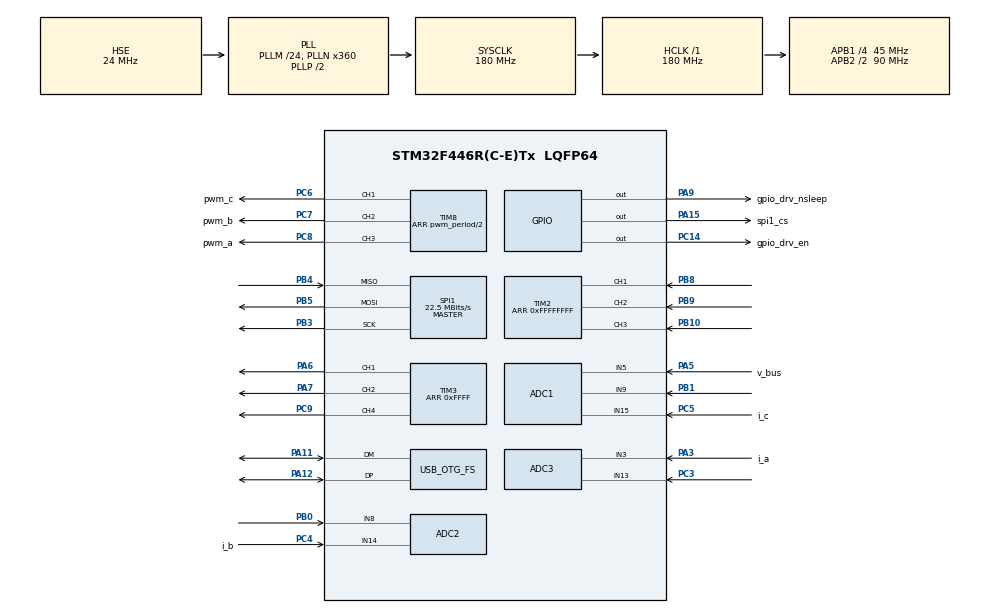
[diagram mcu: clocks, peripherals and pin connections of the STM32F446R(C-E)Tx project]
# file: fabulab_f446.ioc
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Mcu.Family=STM32F4
PH0-OSC_IN.Signal=RCC_OSC_IN
RCC.CortexFreq_Value=180000000
SPI1.VirtualType=VM_MASTER
ADC2.SamplingTime-1\#ChannelRegularConversion=ADC_SAMPLETIME_3CYCLES
ADC3.ExternalTrigInjecConv=ADC_EXTERNALTRIGINJECCONV_T8_CC4
PC6.GPIO_Label=pwm_c
PA11.Mode=Device_Only
TIM2.EncoderMode=TIM_ENCODERMODE_TI12
ADC3.Channel-0\#ChannelRegularConversion=ADC_CHANNEL_3
TIM3.Channel-PWM\ Generation4\ CH4=TIM_CHANNEL_4
RCC.SYSCLKSource=RCC_SYSCLKSOURCE_PLLCLK
ProjectManager.StackSize=0x4000
NVIC.ADC_IRQn=true\:0\:0\:false\:false\:true\:true\:true
PA15.GPIO_Label=spi1_cs
PA12.Signal=USB_OTG_FS_DP
SPI1.CLKPolarity=SPI_POLARITY_HIGH
Mcu.UserConstants=pwm_period,3600;main_period,18000
SPI1.Direction=SPI_DIRECTION_2LINES
RCC.HCLKFreq_Value=180000000
SH.ADCx_IN3.0=ADC3_IN3,IN3
TIM8.Channel-PWM\ Generation1\ CH1=TIM_CHANNEL_1
RCC.APB2TimFreq_Value=180000000
TIM3.Period=0xFFFF
TIM2.Channel-Input_Capture3_from_TI3=TIM_CHANNEL_3
PC7.Signal=S_TIM8_CH2
ADC1.InjNumberOfConversion=1
SPI1.CalculateBaudRate=22.5 MBits/s
PC3.Signal=ADCx_IN13
RCC.AHBFreq_Value=180000000
PH0-OSC_IN.Mode=HSE-External-Oscillator
TIM3.Channel-PWM\ Generation1\ CH1=TIM_CHANNEL_1
ADC1.Channel-0\#ChannelRegularConversion=ADC_CHANNEL_5
ADC1.ExternalTrigInjecConv=ADC_EXTERNALTRIGINJECCONV_T8_CC4
RCC.HSE_VALUE=24000000
PB3.Mode=Full_Duplex_Master
ADC3.InjNumberOfConversion=1
VP_TIM8_VS_no_output4.Mode=PWM Generation4 No Output
ADC2.InjectedRank-2\#ChannelInjectedConversion=1
SH.ADCx_IN15.0=ADC1_IN15,IN15
PB4.Mode=Full_Duplex_Master
PC4.GPIO_Label=i_b
PB5.Mode=Full_Duplex_Master
SPI1.DataSize=SPI_DATASIZE_16BIT
SH.ADCx_IN8.0=ADC2_IN8,IN8
TIM8.Pulse-PWM\ Generation4\ No\ Output=pwm_period/2-10
SH.S_TIM3_CH1.0=TIM3_CH1,PWM Generation1 CH1
VP_TIM1_VS_ClockSourceINT.Mode=Internal
ADC1.SamplingTime-0\#ChannelRegularConversion=ADC_SAMPLETIME_28CYCLES
PH1-OSC_OUT.Mode=HSE-External-Oscillator
Mcu.Package=LQFP64
PB9.Signal=S_TIM2_CH2
ADC2.InjectedOffset-2\#ChannelInjectedConversion=0
PA6.Signal=S_TIM3_CH1
PB1.Signal=ADCx_IN9
TIM8.Channel-PWM\ Generation3\ CH3=TIM_CHANNEL_3
PC14-OSC32_IN.PinState=GPIO_PIN_SET
SH.ADCx_IN14.0=ADC2_IN14,IN14
ADC1.SamplingTime-1\#ChannelInjectedConversion=ADC_SAMPLETIME_15CYCLES
NVIC.OTG_FS_IRQn=true\:0\:0\:false\:false\:true\:true\:true
ADC2.Channel-1\#ChannelRegularConversion=ADC_CHANNEL_8
ADC3.Rank-0\#ChannelRegularConversion=1
TIM8.Channel-PWM\ Generation2\ CH2=TIM_CHANNEL_2
USB_OTG_FS.VirtualMode=Device_Only
PA15.Signal=GPIO_Output
PC8.GPIO_Speed=GPIO_SPEED_FREQ_VERY_HIGH
SH.ADCx_IN9.0=ADC1_IN9,IN9
RCC.PLLSAIM=24
RCC.PLLSAIP=RCC_PLLSAIP_DIV4
RCC.APB2CLKDivider=RCC_HCLK_DIV2
ADC2.NbrOfConversion=1
RCC.APB1TimFreq_Value=90000000
PC14-OSC32_IN.GPIO_Label=gpio_drv_en
PC5.Signal=ADCx_IN15
TIM1.Period=main_period-1
TIM8.OCMode_PWM-PWM\ Generation4\ No\ Output=TIM_OCMODE_PWM2
SPI1.BaudRatePrescaler=SPI_BAUDRATEPRESCALER_4
ADC3.InjectedRank-1\#ChannelInjectedConversion=1
PC6.GPIO_Speed=GPIO_SPEED_FREQ_VERY_HIGH
VP_TIM3_VS_ClockSourceINT.Mode=Internal
PB4.Signal=SPI1_MISO
ADC3.InjectedOffset-1\#ChannelInjectedConversion=0
PA3.Signal=ADCx_IN3
SH.S_TIM8_CH3.0=TIM8_CH3,PWM Generation3 CH3
RCC.PLLSourceVirtual=RCC_PLLSOURCE_HSE
SH.ADCx_IN13.0=ADC3_IN13,IN13
ADC2.ExternalTrigInjecConv=ADC_EXTERNALTRIGINJECCONV_T8_CC4
ADC1.Rank-0\#ChannelRegularConversion=1
ADC3.Channel-1\#ChannelInjectedConversion=ADC_CHANNEL_13
TIM2.IC1Filter=2
PA9.GPIO_Label=gpio_drv_nsleep
PC8.Signal=S_TIM8_CH3
PC4.Signal=ADCx_IN14
PC6.Signal=S_TIM8_CH1
SPI1.CLKPhase=SPI_PHASE_2EDGE
RCC.APB1CLKDivider=RCC_HCLK_DIV4
PC14-OSC32_IN.Signal=GPIO_Output
SH.S_TIM8_CH2.0=TIM8_CH2,PWM Generation2 CH2
PC8.GPIO_Label=pwm_a
SH.S_TIM2_CH2.0=TIM2_CH2,Encoder_Interface
ADC3.SamplingTime-0\#ChannelRegularConversion=ADC_SAMPLETIME_15CYCLES
ProjectManager.TargetToolchain=Makefile
TIM8.Channel-PWM\ Generation4\ No\ Output=TIM_CHANNEL_4
PA6.Stacked=true
PA9.Signal=GPIO_Output
TIM2.ICFilter_CH3=4
PA9.PinState=GPIO_PIN_SET
VP_TIM8_VS_ClockSourceINT.Mode=Internal
ADC1.Channel-1\#ChannelInjectedConversion=ADC_CHANNEL_9
ADC2.SamplingTime-2\#ChannelInjectedConversion=ADC_SAMPLETIME_15CYCLES
RCC.USBFreq_Value=48000000
PB10.Signal=S_TIM2_CH3
RCC.USBCLockSelection=RCC_CLK48CLKSOURCE_PLLSAIP
PA5.Signal=ADCx_IN5
SH.S_TIM3_CH2.0=TIM3_CH2,PWM Generation2 CH2
SH.S_TIM8_CH1.0=TIM8_CH1,PWM Generation1 CH1
board=custom
PC7.GPIO_Speed=GPIO_SPEED_FREQ_VERY_HIGH
RCC.VCOOutputFreq_Value=360000000
PA15.PinState=GPIO_PIN_SET
RCC.APB2Freq_Value=90000000
SH.S_TIM2_CH3.0=TIM2_CH3,Input_Capture3_from_TI3
ADC1.InjectedOffset-1\#ChannelInjectedConversion=0
SPI1.Mode=SPI_MODE_MASTER
PH1-OSC_OUT.Signal=RCC_OSC_OUT
ADC2.Channel-2\#ChannelInjectedConversion=ADC_CHANNEL_8
TIM2.Period=0xFFFFFFFF
ADC1.NbrOfConversion=1
Mcu.Name=STM32F446R(C-E)Tx
TIM8.OCPolarity_2=TIM_OCPOLARITY_HIGH
ADC1.ExternalTrigConv=ADC_EXTERNALTRIGCONV_T8_TRGO
TIM8.Period=pwm_period/2
TIM8.OCPolarity_1=TIM_OCPOLARITY_HIGH
PC7.GPIO_Label=pwm_b
TIM8.OCPolarity_3=TIM_OCPOLARITY_HIGH
PB3.Signal=SPI1_SCK
RCC.SYSCLKFreq_VALUE=180000000
PB5.Signal=SPI1_MOSI
ADC1.master=1
PA12.Mode=Device_Only
PA5.GPIO_Label=v_bus
ADC2.NbrOfConversionFlag=1
TIM8.TIM_MasterOutputTrigger=TIM_TRGO_OC4REF
PC5.GPIO_Label=i_c
PA15.GPIO_Speed=GPIO_SPEED_FREQ_VERY_HIGH
PA11.Signal=USB_OTG_FS_DM
SH.S_TIM2_CH1_ETR.0=TIM2_CH1,Encoder_Interface
ProjectManager.HeapSize=0x4000
NVIC.TIM1_UP_TIM10_IRQn=true\:0\:0\:false\:false\:true\:true\:true
SH.ADCx_IN5.0=ADC1_IN5,IN5
NVIC.PriorityGroup=NVIC_PRIORITYGROUP_4
ADC1.NbrOfConversionFlag=1
TIM3.Channel-PWM\ Generation2\ CH2=TIM_CHANNEL_2
RCC.PLLM=24
RCC.PLLN=360
ADC2.Rank-1\#ChannelRegularConversion=1
PA9.GPIO_Speed=GPIO_SPEED_FREQ_VERY_HIGH
PB8.Signal=S_TIM2_CH1_ETR
ADC1.InjectedRank-1\#ChannelInjectedConversion=1
PC9.Signal=S_TIM3_CH4
RCC.APB1Freq_Value=45000000
ADC3.NbrOfConversionFlag=1
PB0.Signal=ADCx_IN8
ADC2.InjNumberOfConversion=1
TIM2.IC2Filter=2
TIM8.CounterMode=TIM_COUNTERMODE_CENTERALIGNED1
PA3.GPIO_Label=i_a
SH.S_TIM3_CH4.0=TIM3_CH4,PWM Generation4 CH4
PA7.Signal=S_TIM3_CH2
ADC3.SamplingTime-1\#ChannelInjectedConversion=ADC_SAMPLETIME_15CYCLES

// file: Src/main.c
/* USER CODE BEGIN Header */
/**
  ******************************************************************************
  * @file           : main.c
  * @brief          : Main program body
  ******************************************************************************
  * @attention
  *
  * <h2><center>&copy; Copyright (c) 2020 STMicroelectronics.
  * All rights reserved.</center></h2>
  *
  * This software component is licensed by ST under BSD 3-Clause license,
  * the "License"; You may not use this file except in compliance with the
  * License. You may obtain a copy of the License at:
  *                        opensource.org/licenses/BSD-3-Clause
  *
  ******************************************************************************
  */
/* USER CODE END Header */

#include "main.h"

/* USER CODE BEGIN Includes */
#include "../../motorlib/system.h"
/* USER CODE END Includes */

ADC_HandleTypeDef hadc1;
ADC_HandleTypeDef hadc2;
ADC_HandleTypeDef hadc3;

SPI_HandleTypeDef hspi1;

TIM_HandleTypeDef htim1;
TIM_HandleTypeDef htim2;
TIM_HandleTypeDef htim3;
TIM_HandleTypeDef htim8;

PCD_HandleTypeDef hpcd_USB_OTG_FS;

void SystemClock_Config(void);
static void MX_GPIO_Init(void);
static void MX_ADC1_Init(void);
static void MX_ADC2_Init(void);
static void MX_ADC3_Init(void);
static void MX_TIM1_Init(void);
static void MX_TIM8_Init(void);
static void MX_USB_OTG_FS_PCD_Init(void);
static void MX_SPI1_Init(void);
static void MX_TIM2_Init(void);
static void MX_TIM3_Init(void);

int main(void)
{
  /* USER CODE BEGIN 1 */
  // DWC CYCCNT used as main counter
  CoreDebug->DEMCR |= CoreDebug_DEMCR_TRCENA_Msk;
  DWT->CYCCNT = 0;
  DWT->CTRL |= DWT_CTRL_CYCCNTENA_Msk;
  /* USER CODE END 1 */

  /* MCU Configuration--------------------------------------------------------*/

  /* Reset of all peripherals, Initializes the Flash interface and the Systick. */
  HAL_Init();

  /* Configure the system clock */
  SystemClock_Config();

  /* USER CODE BEGIN SysInit */
  DWT->CTRL = 0x400003FF | (1ul<<17) | DWT_CTRL_LSUEVTENA_Msk | DWT_CTRL_FOLDEVTENA_Msk;
  /* USER CODE END SysInit */

  /* Initialize all configured peripherals */
  MX_GPIO_Init();
  MX_ADC1_Init();
  MX_ADC2_Init();
  MX_ADC3_Init();
  MX_TIM1_Init();
  MX_TIM8_Init();
  MX_USB_OTG_FS_PCD_Init();
  MX_SPI1_Init();
  MX_TIM2_Init();
  MX_TIM3_Init();
  /* USER CODE BEGIN 2 */
  SPI1->CR1 |= SPI_CR1_SPE; // enable spi
  system_init();

  HAL_PCDEx_SetRxFiFo(&hpcd_USB_OTG_FS, 0x40);
  HAL_PCDEx_SetTxFiFo(&hpcd_USB_OTG_FS, 0, 0x20);
  HAL_PCDEx_SetTxFiFo(&hpcd_USB_OTG_FS, 1, 0x20);
  HAL_PCDEx_SetTxFiFo(&hpcd_USB_OTG_FS, 2, 0x20);
  HAL_PCDEx_SetTxFiFo(&hpcd_USB_OTG_FS, 3, 0x20);
  USB_EnableGlobalInt(hpcd_USB_OTG_FS.Instance);

  // interrupt priorities
  HAL_NVIC_SetPriority(SysTick_IRQn, 3, 0);
  HAL_NVIC_SetPriority(OTG_FS_IRQn, 2, 0);
  HAL_NVIC_SetPriority(TIM1_UP_TIM10_IRQn, 1, 0);

  HAL_ADC_Start(&hadc1);
  HAL_ADC_Start(&hadc2);
  HAL_ADC_Start(&hadc3);
  hadc1.Instance->CR1 |= ADC_CR1_JEOCIE;

  HAL_TIM_PWM_Start(&htim8, TIM_CHANNEL_1);
  HAL_TIM_PWM_Start(&htim8, TIM_CHANNEL_2);
  HAL_TIM_PWM_Start(&htim8, TIM_CHANNEL_3);
  HAL_TIM_PWM_Start(&htim8, TIM_CHANNEL_4);

	HAL_TIM_OC_Start(&htim2, TIM_CHANNEL_3);

  HAL_TIM_OC_Start(&htim3, TIM_CHANNEL_1);
  HAL_TIM_OC_Start(&htim3, TIM_CHANNEL_2);
  HAL_TIM_OC_Start(&htim3, TIM_CHANNEL_4);

  // start
  HAL_TIM_Base_Start(&htim8);
  HAL_TIM_Base_Start(&htim1);
  HAL_TIM_Base_Start(&htim2);
  HAL_TIM_Base_Start(&htim3);
  htim1.Instance->DIER |= TIM_DIER_UIE;
  htim2.Instance->ARR = 0xFFFFFFFF;
  USB_DevConnect(USB_OTG_FS);

  system_run();
  /* USER CODE END 2 */

  /* Infinite loop */
  while (1)
  {

  }
}

void SystemClock_Config(void)
{
  RCC_OscInitTypeDef RCC_OscInitStruct = {0};
  RCC_ClkInitTypeDef RCC_ClkInitStruct = {0};
  RCC_PeriphCLKInitTypeDef PeriphClkInitStruct = {0};

  /** Configure the main internal regulator output voltage
  */
  __HAL_RCC_PWR_CLK_ENABLE();
  __HAL_PWR_VOLTAGESCALING_CONFIG(PWR_REGULATOR_VOLTAGE_SCALE1);
  /** Initializes the CPU, AHB and APB busses clocks
  */
  RCC_OscInitStruct.OscillatorType = RCC_OSCILLATORTYPE_HSE;
  RCC_OscInitStruct.HSEState = RCC_HSE_ON;
  RCC_OscInitStruct.PLL.PLLState = RCC_PLL_ON;
  RCC_OscInitStruct.PLL.PLLSource = RCC_PLLSOURCE_HSE;
  RCC_OscInitStruct.PLL.PLLM = 24;
  RCC_OscInitStruct.PLL.PLLN = 360;
  RCC_OscInitStruct.PLL.PLLP = RCC_PLLP_DIV2;
  RCC_OscInitStruct.PLL.PLLQ = 2;
  RCC_OscInitStruct.PLL.PLLR = 2;
  if (HAL_RCC_OscConfig(&RCC_OscInitStruct) != HAL_OK)
  {
    Error_Handler();
  }
  /** Activate the Over-Drive mode
  */
  if (HAL_PWREx_EnableOverDrive() != HAL_OK)
  {
    Error_Handler();
  }
  /** Initializes the CPU, AHB and APB busses clocks
  */
  RCC_ClkInitStruct.ClockType = RCC_CLOCKTYPE_HCLK|RCC_CLOCKTYPE_SYSCLK
                              |RCC_CLOCKTYPE_PCLK1|RCC_CLOCKTYPE_PCLK2;
  RCC_ClkInitStruct.SYSCLKSource = RCC_SYSCLKSOURCE_PLLCLK;
  RCC_ClkInitStruct.AHBCLKDivider = RCC_SYSCLK_DIV1;
  RCC_ClkInitStruct.APB1CLKDivider = RCC_HCLK_DIV4;
  RCC_ClkInitStruct.APB2CLKDivider = RCC_HCLK_DIV2;

  if (HAL_RCC_ClockConfig(&RCC_ClkInitStruct, FLASH_LATENCY_5) != HAL_OK)
  {
    Error_Handler();
  }
  PeriphClkInitStruct.PeriphClockSelection = RCC_PERIPHCLK_CLK48;
  PeriphClkInitStruct.PLLSAI.PLLSAIM = 24;
  PeriphClkInitStruct.PLLSAI.PLLSAIN = 192;
  PeriphClkInitStruct.PLLSAI.PLLSAIQ = 2;
  PeriphClkInitStruct.PLLSAI.PLLSAIP = RCC_PLLSAIP_DIV4;
  PeriphClkInitStruct.PLLSAIDivQ = 1;
  PeriphClkInitStruct.Clk48ClockSelection = RCC_CLK48CLKSOURCE_PLLSAIP;
  if (HAL_RCCEx_PeriphCLKConfig(&PeriphClkInitStruct) != HAL_OK)
  {
    Error_Handler();
  }
}

static void MX_ADC1_Init(void)
{

  ADC_ChannelConfTypeDef sConfig = {0};
  ADC_InjectionConfTypeDef sConfigInjected = {0};

  /** Configure the global features of the ADC (Clock, Resolution, Data Alignment and number of conversion)
  */
  hadc1.Instance = ADC1;
  hadc1.Init.ClockPrescaler = ADC_CLOCK_SYNC_PCLK_DIV4;
  hadc1.Init.Resolution = ADC_RESOLUTION_12B;
  hadc1.Init.ScanConvMode = DISABLE;
  hadc1.Init.ContinuousConvMode = DISABLE;
  hadc1.Init.DiscontinuousConvMode = DISABLE;
  hadc1.Init.ExternalTrigConvEdge = ADC_EXTERNALTRIGCONVEDGE_RISING;
  hadc1.Init.ExternalTrigConv = ADC_EXTERNALTRIGCONV_T8_TRGO;
  hadc1.Init.DataAlign = ADC_DATAALIGN_RIGHT;
  hadc1.Init.NbrOfConversion = 1;
  hadc1.Init.DMAContinuousRequests = DISABLE;
  hadc1.Init.EOCSelection = ADC_EOC_SINGLE_CONV;
  if (HAL_ADC_Init(&hadc1) != HAL_OK)
  {
    Error_Handler();
  }
  /** Configure for the selected ADC regular channel its corresponding rank in the sequencer and its sample time.
  */
  sConfig.Channel = ADC_CHANNEL_5;
  sConfig.Rank = 1;
  sConfig.SamplingTime = ADC_SAMPLETIME_28CYCLES;
  if (HAL_ADC_ConfigChannel(&hadc1, &sConfig) != HAL_OK)
  {
    Error_Handler();
  }
  /** Configures for the selected ADC injected channel its corresponding rank in the sequencer and its sample time
  */
  sConfigInjected.InjectedChannel = ADC_CHANNEL_9;
  sConfigInjected.InjectedRank = 1;
  sConfigInjected.InjectedNbrOfConversion = 1;
  sConfigInjected.InjectedSamplingTime = ADC_SAMPLETIME_15CYCLES;
  sConfigInjected.ExternalTrigInjecConvEdge = ADC_EXTERNALTRIGINJECCONVEDGE_RISING;
  sConfigInjected.ExternalTrigInjecConv = ADC_EXTERNALTRIGINJECCONV_T8_CC4;
  sConfigInjected.AutoInjectedConv = DISABLE;
  sConfigInjected.InjectedDiscontinuousConvMode = DISABLE;
  sConfigInjected.InjectedOffset = 0;
  if (HAL_ADCEx_InjectedConfigChannel(&hadc1, &sConfigInjected) != HAL_OK)
  {
    Error_Handler();
  }

}

static void MX_ADC2_Init(void)
{

  ADC_ChannelConfTypeDef sConfig = {0};
  ADC_InjectionConfTypeDef sConfigInjected = {0};

  /** Configure the global features of the ADC (Clock, Resolution, Data Alignment and number of conversion)
  */
  hadc2.Instance = ADC2;
  hadc2.Init.ClockPrescaler = ADC_CLOCK_SYNC_PCLK_DIV4;
  hadc2.Init.Resolution = ADC_RESOLUTION_12B;
  hadc2.Init.ScanConvMode = DISABLE;
  hadc2.Init.ContinuousConvMode = DISABLE;
  hadc2.Init.DiscontinuousConvMode = DISABLE;
  hadc2.Init.ExternalTrigConvEdge = ADC_EXTERNALTRIGCONVEDGE_NONE;
  hadc2.Init.ExternalTrigConv = ADC_SOFTWARE_START;
  hadc2.Init.DataAlign = ADC_DATAALIGN_RIGHT;
  hadc2.Init.NbrOfConversion = 1;
  hadc2.Init.DMAContinuousRequests = DISABLE;
  hadc2.Init.EOCSelection = ADC_EOC_SINGLE_CONV;
  if (HAL_ADC_Init(&hadc2) != HAL_OK)
  {
    Error_Handler();
  }
  /** Configure for the selected ADC regular channel its corresponding rank in the sequencer and its sample time.
  */
  sConfig.Channel = ADC_CHANNEL_8;
  sConfig.Rank = 1;
  sConfig.SamplingTime = ADC_SAMPLETIME_3CYCLES;
  if (HAL_ADC_ConfigChannel(&hadc2, &sConfig) != HAL_OK)
  {
    Error_Handler();
  }
  /** Configures for the selected ADC injected channel its corresponding rank in the sequencer and its sample time
  */
  sConfigInjected.InjectedChannel = ADC_CHANNEL_8;
  sConfigInjected.InjectedRank = 1;
  sConfigInjected.InjectedNbrOfConversion = 1;
  sConfigInjected.InjectedSamplingTime = ADC_SAMPLETIME_15CYCLES;
  sConfigInjected.ExternalTrigInjecConvEdge = ADC_EXTERNALTRIGINJECCONVEDGE_RISING;
  sConfigInjected.ExternalTrigInjecConv = ADC_EXTERNALTRIGINJECCONV_T8_CC4;
  sConfigInjected.AutoInjectedConv = DISABLE;
  sConfigInjected.InjectedDiscontinuousConvMode = DISABLE;
  sConfigInjected.InjectedOffset = 0;
  if (HAL_ADCEx_InjectedConfigChannel(&hadc2, &sConfigInjected) != HAL_OK)
  {
    Error_Handler();
  }

}

static void MX_ADC3_Init(void)
{

  ADC_ChannelConfTypeDef sConfig = {0};
  ADC_InjectionConfTypeDef sConfigInjected = {0};

  /** Configure the global features of the ADC (Clock, Resolution, Data Alignment and number of conversion)
  */
  hadc3.Instance = ADC3;
  hadc3.Init.ClockPrescaler = ADC_CLOCK_SYNC_PCLK_DIV4;
  hadc3.Init.Resolution = ADC_RESOLUTION_12B;
  hadc3.Init.ScanConvMode = DISABLE;
  hadc3.Init.ContinuousConvMode = DISABLE;
  hadc3.Init.DiscontinuousConvMode = DISABLE;
  hadc3.Init.ExternalTrigConvEdge = ADC_EXTERNALTRIGCONVEDGE_NONE;
  hadc3.Init.ExternalTrigConv = ADC_SOFTWARE_START;
  hadc3.Init.DataAlign = ADC_DATAALIGN_RIGHT;
  hadc3.Init.NbrOfConversion = 1;
  hadc3.Init.DMAContinuousRequests = DISABLE;
  hadc3.Init.EOCSelection = ADC_EOC_SINGLE_CONV;
  if (HAL_ADC_Init(&hadc3) != HAL_OK)
  {
    Error_Handler();
  }
  /** Configure for the selected ADC regular channel its corresponding rank in the sequencer and its sample time.
  */
  sConfig.Channel = ADC_CHANNEL_3;
  sConfig.Rank = 1;
  sConfig.SamplingTime = ADC_SAMPLETIME_15CYCLES;
  if (HAL_ADC_ConfigChannel(&hadc3, &sConfig) != HAL_OK)
  {
    Error_Handler();
  }
  /** Configures for the selected ADC injected channel its corresponding rank in the sequencer and its sample time
  */
  sConfigInjected.InjectedChannel = ADC_CHANNEL_13;
  sConfigInjected.InjectedRank = 1;
  sConfigInjected.InjectedNbrOfConversion = 1;
  sConfigInjected.InjectedSamplingTime = ADC_SAMPLETIME_15CYCLES;
  sConfigInjected.ExternalTrigInjecConvEdge = ADC_EXTERNALTRIGINJECCONVEDGE_RISING;
  sConfigInjected.ExternalTrigInjecConv = ADC_EXTERNALTRIGINJECCONV_T8_CC4;
  sConfigInjected.AutoInjectedConv = DISABLE;
  sConfigInjected.InjectedDiscontinuousConvMode = DISABLE;
  sConfigInjected.InjectedOffset = 0;
  if (HAL_ADCEx_InjectedConfigChannel(&hadc3, &sConfigInjected) != HAL_OK)
  {
    Error_Handler();
  }

}

static void MX_SPI1_Init(void)
{

  /* SPI1 parameter configuration*/
  hspi1.Instance = SPI1;
  hspi1.Init.Mode = SPI_MODE_MASTER;
  hspi1.Init.Direction = SPI_DIRECTION_2LINES;
  hspi1.Init.DataSize = SPI_DATASIZE_16BIT;
  hspi1.Init.CLKPolarity = SPI_POLARITY_HIGH;
  hspi1.Init.CLKPhase = SPI_PHASE_2EDGE;
  hspi1.Init.NSS = SPI_NSS_SOFT;
  hspi1.Init.BaudRatePrescaler = SPI_BAUDRATEPRESCALER_4;
  hspi1.Init.FirstBit = SPI_FIRSTBIT_MSB;
  hspi1.Init.TIMode = SPI_TIMODE_DISABLE;
  hspi1.Init.CRCCalculation = SPI_CRCCALCULATION_DISABLE;
  hspi1.Init.CRCPolynomial = 10;
  if (HAL_SPI_Init(&hspi1) != HAL_OK)
  {
    Error_Handler();
  }

}

static void MX_TIM1_Init(void)
{

  TIM_ClockConfigTypeDef sClockSourceConfig = {0};
  TIM_MasterConfigTypeDef sMasterConfig = {0};

  htim1.Instance = TIM1;
  htim1.Init.Prescaler = 0;
  htim1.Init.CounterMode = TIM_COUNTERMODE_UP;
  htim1.Init.Period = main_period-1;
  htim1.Init.ClockDivision = TIM_CLOCKDIVISION_DIV1;
  htim1.Init.RepetitionCounter = 0;
  htim1.Init.AutoReloadPreload = TIM_AUTORELOAD_PRELOAD_DISABLE;
  if (HAL_TIM_Base_Init(&htim1) != HAL_OK)
  {
    Error_Handler();
  }
  sClockSourceConfig.ClockSource = TIM_CLOCKSOURCE_INTERNAL;
  if (HAL_TIM_ConfigClockSource(&htim1, &sClockSourceConfig) != HAL_OK)
  {
    Error_Handler();
  }
  sMasterConfig.MasterOutputTrigger = TIM_TRGO_RESET;
  sMasterConfig.MasterSlaveMode = TIM_MASTERSLAVEMODE_DISABLE;
  if (HAL_TIMEx_MasterConfigSynchronization(&htim1, &sMasterConfig) != HAL_OK)
  {
    Error_Handler();
  }

}

static void MX_TIM2_Init(void)
{

  TIM_Encoder_InitTypeDef sConfig = {0};
  TIM_MasterConfigTypeDef sMasterConfig = {0};
  TIM_IC_InitTypeDef sConfigIC = {0};

  htim2.Instance = TIM2;
  htim2.Init.Prescaler = 0;
  htim2.Init.CounterMode = TIM_COUNTERMODE_UP;
  htim2.Init.Period = 0xFFFFFFFF;
  htim2.Init.ClockDivision = TIM_CLOCKDIVISION_DIV1;
  htim2.Init.AutoReloadPreload = TIM_AUTORELOAD_PRELOAD_DISABLE;
  if (HAL_TIM_IC_Init(&htim2) != HAL_OK)
  {
    Error_Handler();
  }
  sConfig.EncoderMode = TIM_ENCODERMODE_TI12;
  sConfig.IC1Polarity = TIM_ICPOLARITY_RISING;
  sConfig.IC1Selection = TIM_ICSELECTION_DIRECTTI;
  sConfig.IC1Prescaler = TIM_ICPSC_DIV1;
  sConfig.IC1Filter = 2;
  sConfig.IC2Polarity = TIM_ICPOLARITY_RISING;
  sConfig.IC2Selection = TIM_ICSELECTION_DIRECTTI;
  sConfig.IC2Prescaler = TIM_ICPSC_DIV1;
  sConfig.IC2Filter = 2;
  if (HAL_TIM_Encoder_Init(&htim2, &sConfig) != HAL_OK)
  {
    Error_Handler();
  }
  sMasterConfig.MasterOutputTrigger = TIM_TRGO_RESET;
  sMasterConfig.MasterSlaveMode = TIM_MASTERSLAVEMODE_DISABLE;
  if (HAL_TIMEx_MasterConfigSynchronization(&htim2, &sMasterConfig) != HAL_OK)
  {
    Error_Handler();
  }
  sConfigIC.ICPolarity = TIM_INPUTCHANNELPOLARITY_RISING;
  sConfigIC.ICSelection = TIM_ICSELECTION_DIRECTTI;
  sConfigIC.ICPrescaler = TIM_ICPSC_DIV1;
  sConfigIC.ICFilter = 4;
  if (HAL_TIM_IC_ConfigChannel(&htim2, &sConfigIC, TIM_CHANNEL_3) != HAL_OK)
  {
    Error_Handler();
  }

}

static void MX_TIM3_Init(void)
{

  TIM_ClockConfigTypeDef sClockSourceConfig = {0};
  TIM_MasterConfigTypeDef sMasterConfig = {0};
  TIM_OC_InitTypeDef sConfigOC = {0};

  htim3.Instance = TIM3;
  htim3.Init.Prescaler = 0;
  htim3.Init.CounterMode = TIM_COUNTERMODE_UP;
  htim3.Init.Period = 0xFFFF;
  htim3.Init.ClockDivision = TIM_CLOCKDIVISION_DIV1;
  htim3.Init.AutoReloadPreload = TIM_AUTORELOAD_PRELOAD_DISABLE;
  if (HAL_TIM_Base_Init(&htim3) != HAL_OK)
  {
    Error_Handler();
  }
  sClockSourceConfig.ClockSource = TIM_CLOCKSOURCE_INTERNAL;
  if (HAL_TIM_ConfigClockSource(&htim3, &sClockSourceConfig) != HAL_OK)
  {
    Error_Handler();
  }
  if (HAL_TIM_PWM_Init(&htim3) != HAL_OK)
  {
    Error_Handler();
  }
  sMasterConfig.MasterOutputTrigger = TIM_TRGO_RESET;
  sMasterConfig.MasterSlaveMode = TIM_MASTERSLAVEMODE_DISABLE;
  if (HAL_TIMEx_MasterConfigSynchronization(&htim3, &sMasterConfig) != HAL_OK)
  {
    Error_Handler();
  }
  sConfigOC.OCMode = TIM_OCMODE_PWM1;
  sConfigOC.Pulse = 0;
  sConfigOC.OCPolarity = TIM_OCPOLARITY_HIGH;
  sConfigOC.OCFastMode = TIM_OCFAST_DISABLE;
  if (HAL_TIM_PWM_ConfigChannel(&htim3, &sConfigOC, TIM_CHANNEL_1) != HAL_OK)
  {
    Error_Handler();
  }
  if (HAL_TIM_PWM_ConfigChannel(&htim3, &sConfigOC, TIM_CHANNEL_2) != HAL_OK)
  {
    Error_Handler();
  }
  if (HAL_TIM_PWM_ConfigChannel(&htim3, &sConfigOC, TIM_CHANNEL_4) != HAL_OK)
  {
    Error_Handler();
  }
  HAL_TIM_MspPostInit(&htim3);

}

static void MX_TIM8_Init(void)
{

  TIM_ClockConfigTypeDef sClockSourceConfig = {0};
  TIM_MasterConfigTypeDef sMasterConfig = {0};
  TIM_OC_InitTypeDef sConfigOC = {0};
  TIM_BreakDeadTimeConfigTypeDef sBreakDeadTimeConfig = {0};

  htim8.Instance = TIM8;
  htim8.Init.Prescaler = 0;
  htim8.Init.CounterMode = TIM_COUNTERMODE_CENTERALIGNED1;
  htim8.Init.Period = pwm_period/2;
  htim8.Init.ClockDivision = TIM_CLOCKDIVISION_DIV1;
  htim8.Init.RepetitionCounter = 0;
  htim8.Init.AutoReloadPreload = TIM_AUTORELOAD_PRELOAD_DISABLE;
  if (HAL_TIM_Base_Init(&htim8) != HAL_OK)
  {
    Error_Handler();
  }
  sClockSourceConfig.ClockSource = TIM_CLOCKSOURCE_INTERNAL;
  if (HAL_TIM_ConfigClockSource(&htim8, &sClockSourceConfig) != HAL_OK)
  {
    Error_Handler();
  }
  if (HAL_TIM_PWM_Init(&htim8) != HAL_OK)
  {
    Error_Handler();
  }
  sMasterConfig.MasterOutputTrigger = TIM_TRGO_OC4REF;
  sMasterConfig.MasterSlaveMode = TIM_MASTERSLAVEMODE_DISABLE;
  if (HAL_TIMEx_MasterConfigSynchronization(&htim8, &sMasterConfig) != HAL_OK)
  {
    Error_Handler();
  }
  sConfigOC.OCMode = TIM_OCMODE_PWM1;
  sConfigOC.Pulse = 0;
  sConfigOC.OCPolarity = TIM_OCPOLARITY_HIGH;
  sConfigOC.OCNPolarity = TIM_OCNPOLARITY_HIGH;
  sConfigOC.OCFastMode = TIM_OCFAST_DISABLE;
  sConfigOC.OCIdleState = TIM_OCIDLESTATE_RESET;
  sConfigOC.OCNIdleState = TIM_OCNIDLESTATE_RESET;
  if (HAL_TIM_PWM_ConfigChannel(&htim8, &sConfigOC, TIM_CHANNEL_1) != HAL_OK)
  {
    Error_Handler();
  }
  if (HAL_TIM_PWM_ConfigChannel(&htim8, &sConfigOC, TIM_CHANNEL_2) != HAL_OK)
  {
    Error_Handler();
  }
  if (HAL_TIM_PWM_ConfigChannel(&htim8, &sConfigOC, TIM_CHANNEL_3) != HAL_OK)
  {
    Error_Handler();
  }
  sConfigOC.OCMode = TIM_OCMODE_PWM2;
  sConfigOC.Pulse = pwm_period/2-10;
  if (HAL_TIM_PWM_ConfigChannel(&htim8, &sConfigOC, TIM_CHANNEL_4) != HAL_OK)
  {
    Error_Handler();
  }
  sBreakDeadTimeConfig.OffStateRunMode = TIM_OSSR_DISABLE;
  sBreakDeadTimeConfig.OffStateIDLEMode = TIM_OSSI_DISABLE;
  sBreakDeadTimeConfig.LockLevel = TIM_LOCKLEVEL_OFF;
  sBreakDeadTimeConfig.DeadTime = 0;
  sBreakDeadTimeConfig.BreakState = TIM_BREAK_DISABLE;
  sBreakDeadTimeConfig.BreakPolarity = TIM_BREAKPOLARITY_HIGH;
  sBreakDeadTimeConfig.AutomaticOutput = TIM_AUTOMATICOUTPUT_DISABLE;
  if (HAL_TIMEx_ConfigBreakDeadTime(&htim8, &sBreakDeadTimeConfig) != HAL_OK)
  {
    Error_Handler();
  }
  HAL_TIM_MspPostInit(&htim8);

}

static void MX_USB_OTG_FS_PCD_Init(void)
{

  hpcd_USB_OTG_FS.Instance = USB_OTG_FS;
  hpcd_USB_OTG_FS.Init.dev_endpoints = 6;
  hpcd_USB_OTG_FS.Init.speed = PCD_SPEED_FULL;
  hpcd_USB_OTG_FS.Init.dma_enable = DISABLE;
  hpcd_USB_OTG_FS.Init.phy_itface = PCD_PHY_EMBEDDED;
  hpcd_USB_OTG_FS.Init.Sof_enable = DISABLE;
  hpcd_USB_OTG_FS.Init.low_power_enable = DISABLE;
  hpcd_USB_OTG_FS.Init.lpm_enable = DISABLE;
  hpcd_USB_OTG_FS.Init.vbus_sensing_enable = DISABLE;
  hpcd_USB_OTG_FS.Init.use_dedicated_ep1 = DISABLE;
  if (HAL_PCD_Init(&hpcd_USB_OTG_FS) != HAL_OK)
  {
    Error_Handler();
  }

}

static void MX_GPIO_Init(void)
{
  GPIO_InitTypeDef GPIO_InitStruct = {0};

  /* GPIO Ports Clock Enable */
  __HAL_RCC_GPIOC_CLK_ENABLE();
  __HAL_RCC_GPIOH_CLK_ENABLE();
  __HAL_RCC_GPIOA_CLK_ENABLE();
  __HAL_RCC_GPIOB_CLK_ENABLE();

  /*Configure GPIO pin Output Level */
  HAL_GPIO_WritePin(gpio_drv_en_GPIO_Port, gpio_drv_en_Pin, GPIO_PIN_SET);

  /*Configure GPIO pin Output Level */
  HAL_GPIO_WritePin(GPIOA, gpio_drv_nsleep_Pin|spi1_cs_Pin, GPIO_PIN_SET);

  /*Configure GPIO pin : gpio_drv_en_Pin */
  GPIO_InitStruct.Pin = gpio_drv_en_Pin;
  GPIO_InitStruct.Mode = GPIO_MODE_OUTPUT_PP;
  GPIO_InitStruct.Pull = GPIO_NOPULL;
  GPIO_InitStruct.Speed = GPIO_SPEED_FREQ_LOW;
  HAL_GPIO_Init(gpio_drv_en_GPIO_Port, &GPIO_InitStruct);

  /*Configure GPIO pins : gpio_drv_nsleep_Pin spi1_cs_Pin */
  GPIO_InitStruct.Pin = gpio_drv_nsleep_Pin|spi1_cs_Pin;
  GPIO_InitStruct.Mode = GPIO_MODE_OUTPUT_PP;
  GPIO_InitStruct.Pull = GPIO_NOPULL;
  GPIO_InitStruct.Speed = GPIO_SPEED_FREQ_VERY_HIGH;
  HAL_GPIO_Init(GPIOA, &GPIO_InitStruct);

}

void Error_Handler(void)
{
}

/************************ (C) COPYRIGHT STMicroelectronics *****END OF FILE****/
